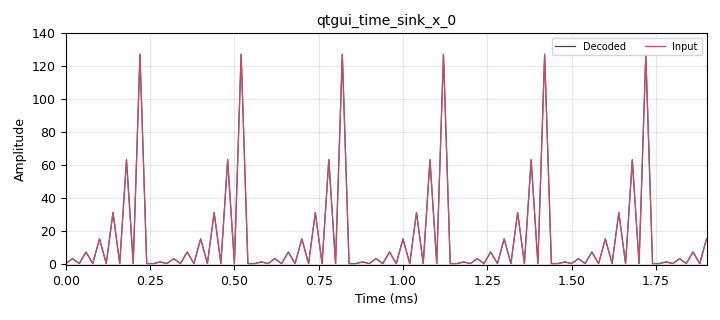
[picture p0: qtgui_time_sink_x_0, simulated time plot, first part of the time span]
<?xml version='1.0' encoding='utf-8'?>
<?grc format='1' created='3.7.9'?>
<flow_graph>
<block>
<key>options</key>
<param><key>id</key><value>fecapi_polar_decoder_examples</value></param>
<param><key>category</key><value>Custom</value></param>
<param><key>generate_options</key><value>qt_gui</value></param>
<param><key>title</key><value>Polar decoder examples</value></param>
</block>
<block>
<key>variable</key>
<param><key>id</key><value>block_size</value></param>
<param><key>comment</key><value>codeword size of polar codes.

MUST be a power of 2!
MUST be greater than 'frame_size'.</value></param>
<param><key>value</key><value>512</value></param>
</block>
<block>
<key>variable_polar_code_configurator</key>
<param><key>id</key><value>polar_config</value></param>
<param><key>num_info_bits</key><value>frame_size * 8</value></param>
<param><key>block_size</key><value>block_size</value></param>
<param><key>channel</key><value>polar.CHANNEL_TYPE_BEC</value></param>
<param><key>comment</key><value>Block is used to configure polar encoders and decoders.

returns dictionary with requested configuration.

most important dict values: 'values' and 'positions'</value></param>
<param><key>design_snr</key><value>0.0</value></param>
<param><key>mu</key><value>32</value></param>
</block>
<block>
<key>variable_polar_decoder_sc_def</key>
<param><key>id</key><value>polar_decoder_sc</value></param>
<param><key>num_info_bits</key><value>frame_size * 8</value></param>
<param><key>block_size</key><value>block_size</value></param>
<param><key>comment</key><value>Standard 'Successive Cancellation' decoder.

performs better with greater block size.
This is due to stronger polarization at higher block sizes.</value></param>
<param><key>frozen_bit_positions</key><value>polar_config['positions']</value></param>
<param><key>frozen_bit_values</key><value>polar_config['values']</value></param>
<param><key>ndim</key><value>0</value></param>
</block>
<block>
<key>variable_polar_encoder_def</key>
<param><key>id</key><value>polar_encoder_sc</value></param>
<param><key>num_info_bits</key><value>frame_size * 8</value></param>
<param><key>block_size</key><value>block_size</value></param>
<param><key>frozen_bit_positions</key><value>polar_config['positions']</value></param>
<param><key>frozen_bit_values</key><value>polar_config['values']</value></param>
<param><key>is_packed</key><value>False</value></param>
<param><key>ndim</key><value>0</value></param>
</block>
<block>
<key>variable</key>
<param><key>id</key><value>samp_rate</value></param>
<param><key>value</key><value>int(50e3)</value></param>
</block>
<block>
<key>analog_random_source_x</key>
<param><key>id</key><value>analog_random_source_x_0</value></param>
<param><key>_enabled</key><value>False</value></param>
<param><key>max</key><value>256</value></param>
<param><key>min</key><value>0</value></param>
<param><key>num_samps</key><value>1000</value></param>
<param><key>type</key><value>byte</value></param>
<param><key>repeat</key><value>True</value></param>
</block>
<block>
<key>blocks_char_to_float</key>
<param><key>id</key><value>blocks_char_to_float_0_0_0_0</value></param>
<param><key>scale</key><value>1</value></param>
</block>
<block>
<key>blocks_char_to_float</key>
<param><key>id</key><value>blocks_char_to_float_0_1</value></param>
<param><key>scale</key><value>1</value></param>
</block>
<block>
<key>blocks_char_to_float</key>
<param><key>id</key><value>blocks_char_to_float_0_1_0</value></param>
<param><key>scale</key><value>1</value></param>
</block>
<block>
<key>blocks_ctrlport_monitor_performance</key>
<param><key>id</key><value>blocks_ctrlport_monitor_performance_0</value></param>
<param><key>_enabled</key><value>False</value></param>
<param><key>en</key><value>True</value></param>
</block>
<block>
<key>blocks_pdu_to_tagged_stream</key>
<param><key>id</key><value>blocks_pdu_to_tagged_stream_0</value></param>
<param><key>type</key><value>byte</value></param>
<param><key>tag</key><value>pkt_len</value></param>
</block>
<block>
<key>blocks_pdu_to_tagged_stream</key>
<param><key>id</key><value>blocks_pdu_to_tagged_stream_0_0</value></param>
<param><key>type</key><value>byte</value></param>
<param><key>tag</key><value>pkt_len</value></param>
</block>
<block>
<key>blocks_repack_bits_bb</key>
<param><key>id</key><value>blocks_repack_bits_bb_0</value></param>
<param><key>k</key><value>8</value></param>
<param><key>l</key><value>1</value></param>
<param><key>endianness</key><value>gr.GR_MSB_FIRST</value></param>
<param><key>len_tag_key</key><value>pkt_len</value></param>
</block>
<block>
<key>blocks_stream_to_tagged_stream</key>
<param><key>id</key><value>blocks_stream_to_tagged_stream_0_0</value></param>
<param><key>len_tag_key</key><value>pkt_len</value></param>
<param><key>packet_len</key><value>frame_size</value></param>
<param><key>type</key><value>byte</value></param>
</block>
<block>
<key>blocks_tagged_stream_to_pdu</key>
<param><key>id</key><value>blocks_tagged_stream_to_pdu_0</value></param>
<param><key>type</key><value>byte</value></param>
<param><key>tag</key><value>pkt_len</value></param>
</block>
<block>
<key>blocks_tagged_stream_to_pdu</key>
<param><key>id</key><value>blocks_tagged_stream_to_pdu_1</value></param>
<param><key>type</key><value>float</value></param>
<param><key>tag</key><value>pkt_len</value></param>
</block>
<block>
<key>blocks_throttle</key>
<param><key>id</key><value>blocks_throttle_0</value></param>
<param><key>samples_per_second</key><value>samp_rate</value></param>
<param><key>type</key><value>byte</value></param>
</block>
<block>
<key>blocks_vector_source_x</key>
<param><key>id</key><value>blocks_vector_source_x_0_1_0</value></param>
<param><key>type</key><value>byte</value></param>
<param><key>repeat</key><value>True</value></param>
<param><key>vector</key><value>(frame_size/15)*[0, 0, 1, 0, 3, 0, 7, 0, 15, 0, 31, 0, 63, 0, 127]</value></param>
</block>
<block>
<key>digital_map_bb</key>
<param><key>id</key><value>digital_map_bb_0</value></param>
<param><key>map</key><value>[-1,1]</value></param>
</block>
<block>
<key>fec_async_decoder</key>
<param><key>id</key><value>fec_async_decoder_0</value></param>
<param><key>decoder</key><value>polar_decoder_sc</value></param>
<param><key>packed</key><value>True</value></param>
<param><key>rev_pack</key><value>False</value></param>
</block>
<block>
<key>fec_async_encoder</key>
<param><key>id</key><value>fec_async_encoder_0</value></param>
<param><key>encoder</key><value>polar_encoder_sc</value></param>
<param><key>packed</key><value>True</value></param>
<param><key>rev_pack</key><value>False</value></param>
<param><key>rev_unpack</key><value>False</value></param>
</block>
<block>
<key>parameter</key>
<param><key>id</key><value>frame_size</value></param>
<param><key>label</key><value>Frame Size</value></param>
<param><key>type</key><value>intx</value></param>
<param><key>value</key><value>30</value></param>
</block>
<block>
<key>parameter</key>
<param><key>id</key><value>puncpat</value></param>
<param><key>type</key><value>string</value></param>
<param><key>value</key><value>'11'</value></param>
</block>
<block>
<key>qtgui_time_sink_x</key>
<param><key>id</key><value>qtgui_time_sink_x_0</value></param>
<param><key>color1</key><value>"blue"</value></param>
<param><key>label1</key><value>Decoded</value></param>
<param><key>alpha2</key><value>0.6</value></param>
<param><key>color2</key><value>"red"</value></param>
<param><key>label2</key><value>Input</value></param>
<param><key>name</key><value></value></param>
<param><key>nconnections</key><value>2</value></param>
<param><key>size</key><value>512</value></param>
<param><key>srate</key><value>samp_rate</value></param>
<param><key>type</key><value>float</value></param>
<param><key>update_time</key><value>0.01</value></param>
<param><key>ymax</key><value>140</value></param>
</block>
<connection><source_block_id>analog_random_source_x_0</source_block_id><sink_block_id>blocks_throttle_0</sink_block_id><source_key>0</source_key><sink_key>0</sink_key></connection>
<connection><source_block_id>blocks_char_to_float_0_0_0_0</source_block_id><sink_block_id>qtgui_time_sink_x_0</sink_block_id><source_key>0</source_key><sink_key>0</sink_key></connection>
<connection><source_block_id>blocks_char_to_float_0_1</source_block_id><sink_block_id>blocks_tagged_stream_to_pdu_1</sink_block_id><source_key>0</source_key><sink_key>0</sink_key></connection>
<connection><source_block_id>blocks_char_to_float_0_1_0</source_block_id><sink_block_id>qtgui_time_sink_x_0</sink_block_id><source_key>0</source_key><sink_key>1</sink_key></connection>
<connection><source_block_id>blocks_pdu_to_tagged_stream_0</source_block_id><sink_block_id>blocks_repack_bits_bb_0</sink_block_id><source_key>0</source_key><sink_key>0</sink_key></connection>
<connection><source_block_id>blocks_pdu_to_tagged_stream_0_0</source_block_id><sink_block_id>blocks_char_to_float_0_0_0_0</sink_block_id><source_key>0</source_key><sink_key>0</sink_key></connection>
<connection><source_block_id>blocks_repack_bits_bb_0</source_block_id><sink_block_id>digital_map_bb_0</sink_block_id><source_key>0</source_key><sink_key>0</sink_key></connection>
<connection><source_block_id>blocks_stream_to_tagged_stream_0_0</source_block_id><sink_block_id>blocks_char_to_float_0_1_0</sink_block_id><source_key>0</source_key><sink_key>0</sink_key></connection>
<connection><source_block_id>blocks_stream_to_tagged_stream_0_0</source_block_id><sink_block_id>blocks_tagged_stream_to_pdu_0</sink_block_id><source_key>0</source_key><sink_key>0</sink_key></connection>
<connection><source_block_id>blocks_tagged_stream_to_pdu_0</source_block_id><sink_block_id>fec_async_encoder_0</sink_block_id><source_key>pdus</source_key><sink_key>in</sink_key></connection>
<connection><source_block_id>blocks_tagged_stream_to_pdu_1</source_block_id><sink_block_id>fec_async_decoder_0</sink_block_id><source_key>pdus</source_key><sink_key>in</sink_key></connection>
<connection><source_block_id>blocks_throttle_0</source_block_id><sink_block_id>blocks_stream_to_tagged_stream_0_0</sink_block_id><source_key>0</source_key><sink_key>0</sink_key></connection>
<connection><source_block_id>blocks_vector_source_x_0_1_0</source_block_id><sink_block_id>blocks_throttle_0</sink_block_id><source_key>0</source_key><sink_key>0</sink_key></connection>
<connection><source_block_id>digital_map_bb_0</source_block_id><sink_block_id>blocks_char_to_float_0_1</sink_block_id><source_key>0</source_key><sink_key>0</sink_key></connection>
<connection><source_block_id>fec_async_decoder_0</source_block_id><sink_block_id>blocks_pdu_to_tagged_stream_0_0</sink_block_id><source_key>out</source_key><sink_key>pdus</sink_key></connection>
<connection><source_block_id>fec_async_encoder_0</source_block_id><sink_block_id>blocks_pdu_to_tagged_stream_0</sink_block_id><source_key>out</source_key><sink_key>pdus</sink_key></connection>
</flow_graph>
